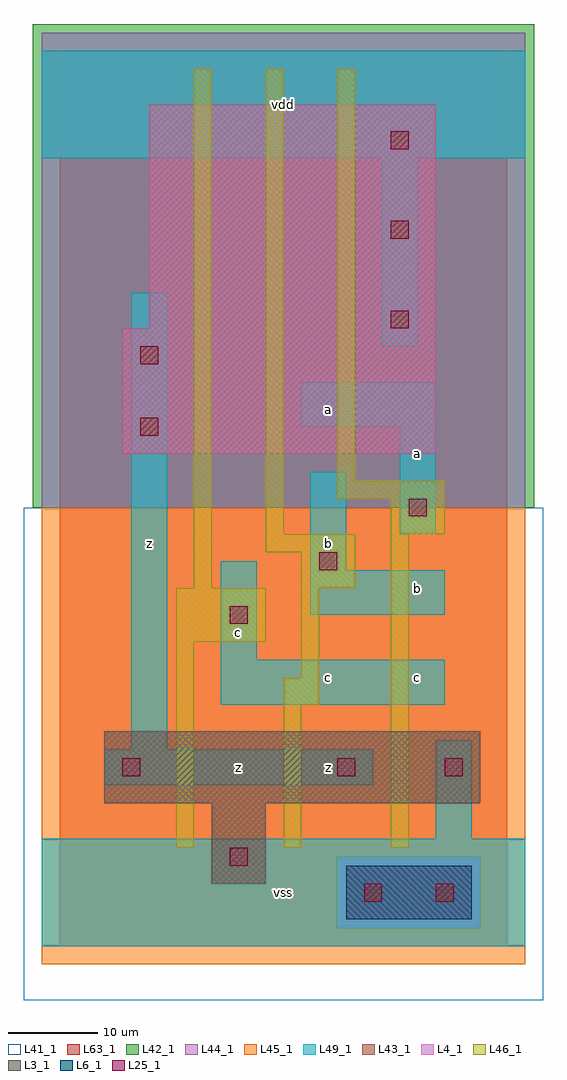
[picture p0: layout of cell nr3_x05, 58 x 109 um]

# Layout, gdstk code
import gdstk
lib = gdstk.Library(unit=1e-6, precision=1e-09)
def R(c, l, rs):  # rectangles x0, y0, x1, y1
    for r in rs: c.add(gdstk.rectangle(r[:2], r[2:], *l))
def A(c, l, x, y, w, h, nx, ny, dx, dy):  # array of equal rectangles
    R(c, l, [(x+i*dx, y+j*dy, x+i*dx+w, y+j*dy+h) for i in range(nx) for j in range(ny)])
L3_1 = (3, 1)
L4_1 = (4, 1)
L6_1 = (6, 1)
L25_1 = (25, 1)
L41_1 = (41, 1)
L42_1 = (42, 1)
L43_1 = (43, 1)
L44_1 = (44, 1)
L45_1 = (45, 1)
L46_1 = (46, 1)
L49_1 = (49, 1)
L63_1 = (63, 1)

nr3_x05 = lib.new_cell('nr3_x05')
R(nr3_x05, L3_1, [(17,7,23,16), (5,16,47,24)])
R(nr3_x05, L4_1, [(7,55,42,69), (10,69,42,94)])
R(nr3_x05, L6_1, [(32,3,46,9)])
A(nr3_x05, L25_1, 37, 69, 2, 2, 1, 3, 0, 10)
R(nr3_x05, L25_1, [(34,5,36,7), (42,5,44,7), (19,9,21,11), (7,19,9,21), (31,19,33,21), (43,19,45,21), (19,36,21,38), (29,42,31,44), (39,48,41,50), (9,57,11,59), (9,65,11,67)])
R(nr3_x05, L41_1, [(-4,-6,54,49), (-3,-3,53,49)])
R(nr3_x05, L42_1, [(-3,49,53,103)])
R(nr3_x05, L43_1, [(32,3,46,9), (17,7,23,16), (5,16,47,24), (7,55,42,69), (10,69,42,94)])
R(nr3_x05, L44_1, [(31,2,47,10), (-2,49,52,102)])
R(nr3_x05, L45_1, [(-2,-2,52,2), (-2,2,31,10), (47,2,52,10), (-2,10,52,49)])
R(nr3_x05, L46_1, [(13,11,15,34), (25,11,27,27), (37,11,39,46), (25,27,29,30), (27,30,29,40), (13,34,23,40), (15,40,17,98), (27,40,33,44), (23,44,33,46), (23,46,25,98), (37,46,43,50), (31,50,43,52), (31,52,33,98)])
R(nr3_x05, L49_1, [(-2,0,52,12), (42,12,46,23), (5,18,35,22), (8,22,12,73), (18,27,43,32), (18,32,22,43), (28,37,43,42), (28,42,32,53), (38,46,42,58), (27,58,42,63), (36,67,40,88), (-2,88,52,100)])
R(nr3_x05, L63_1, [(0,0,50,100)])
nr3_x05.add(gdstk.Label('z', (20,20), layer=49, texttype=1))
nr3_x05.add(gdstk.Label('z', (20,20), layer=49, texttype=1))
nr3_x05.add(gdstk.Label('z', (10,45), layer=49, texttype=1))
nr3_x05.add(gdstk.Label('z', (10,45), layer=49, texttype=1))
nr3_x05.add(gdstk.Label('c', (20,35), layer=49, texttype=1))
nr3_x05.add(gdstk.Label('c', (20,35), layer=49, texttype=1))
nr3_x05.add(gdstk.Label('vss', (25,6), layer=49, texttype=1))
nr3_x05.add(gdstk.Label('vss', (25,6), layer=49, texttype=1))
nr3_x05.add(gdstk.Label('z', (30,20), layer=49, texttype=1))
nr3_x05.add(gdstk.Label('z', (30,20), layer=49, texttype=1))
nr3_x05.add(gdstk.Label('b', (30,45), layer=49, texttype=1))
nr3_x05.add(gdstk.Label('c', (30,30), layer=49, texttype=1))
nr3_x05.add(gdstk.Label('b', (30,45), layer=49, texttype=1))
nr3_x05.add(gdstk.Label('c', (30,30), layer=49, texttype=1))
nr3_x05.add(gdstk.Label('a', (30,60), layer=49, texttype=1))
nr3_x05.add(gdstk.Label('a', (30,60), layer=49, texttype=1))
nr3_x05.add(gdstk.Label('vdd', (25,94), layer=49, texttype=1))
nr3_x05.add(gdstk.Label('vdd', (25,94), layer=49, texttype=1))
nr3_x05.add(gdstk.Label('c', (40,30), layer=49, texttype=1))
nr3_x05.add(gdstk.Label('b', (40,40), layer=49, texttype=1))
nr3_x05.add(gdstk.Label('c', (40,30), layer=49, texttype=1))
nr3_x05.add(gdstk.Label('b', (40,40), layer=49, texttype=1))
nr3_x05.add(gdstk.Label('a', (40,55), layer=49, texttype=1))
nr3_x05.add(gdstk.Label('a', (40,55), layer=49, texttype=1))

lib.write_gds('nr3_x05.gds')
